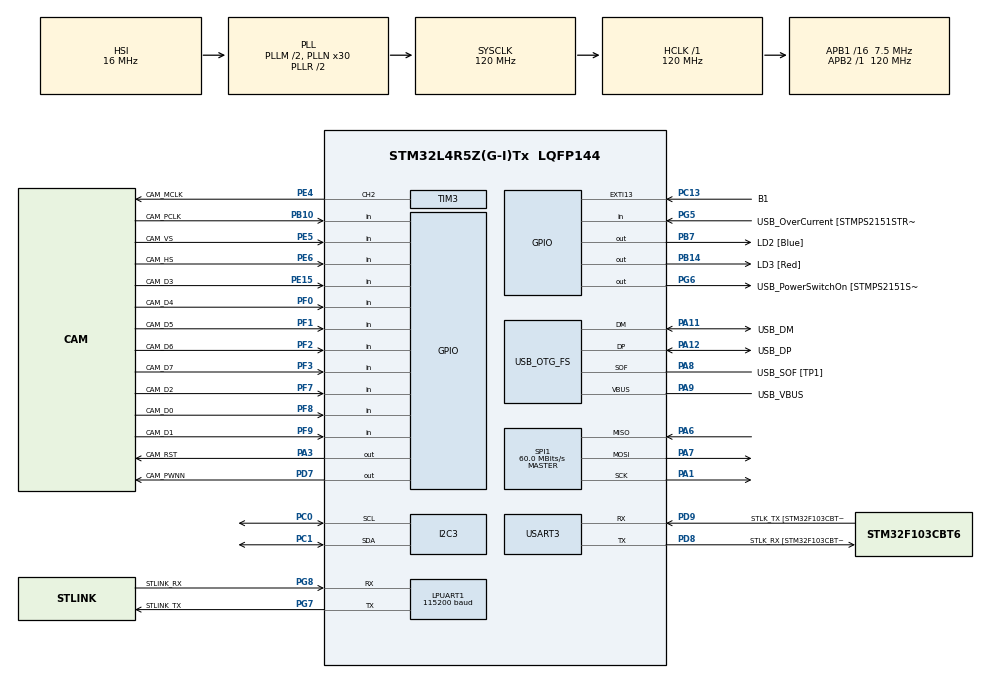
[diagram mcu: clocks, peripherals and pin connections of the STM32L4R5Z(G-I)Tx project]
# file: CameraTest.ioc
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I2C3.Timing=0x00101B29
LPUART1.BaudRate=115200
LPUART1.WordLength=UART_WORDLENGTH_8B
Mcu.Family=STM32L4
Mcu.Name=STM32L4R5Z(G-I)Tx
Mcu.Package=LQFP144
NVIC.PriorityGroup=NVIC_PRIORITYGROUP_4
PA1.Mode=Full_Duplex_Master
PA1.Signal=SPI1_SCK
PA10.GPIO_Label=USB_ID
PA10.Signal=USB_OTG_FS_ID
PA11.GPIO_Label=USB_DM
PA11.Mode=Device_Only
PA11.Signal=USB_OTG_FS_DM
PA12.GPIO_Label=USB_DP
PA12.Mode=Device_Only
PA12.Signal=USB_OTG_FS_DP
PA13\ (JTMS/SWDIO).GPIO_Label=TMS
PA13\ (JTMS/SWDIO).Mode=Trace_Asynchronous_SW
PA13\ (JTMS/SWDIO).Signal=SYS_JTMS-SWDIO
PA14\ (JTCK/SWCLK).GPIO_Label=TCK
PA14\ (JTCK/SWCLK).Mode=Trace_Asynchronous_SW
PA14\ (JTCK/SWCLK).Signal=SYS_JTCK-SWCLK
PA3.GPIO_Label=CAM_RST
PA3.Signal=GPIO_Output
PA6.Mode=Full_Duplex_Master
PA6.Signal=SPI1_MISO
PA7.Mode=Full_Duplex_Master
PA7.Signal=SPI1_MOSI
PA8.GPIO_Label=USB_SOF [TP1]
PA8.Mode=Activate_SOF_FS
PA8.Signal=USB_OTG_FS_SOF
PA9.GPIO_Label=USB_VBUS
PA9.Mode=Activate_VBUS
PA9.Signal=USB_OTG_FS_VBUS
PB10.GPIO_Label=CAM_PCLK
PB10.Signal=GPIO_Input
PB14.GPIO_Label=LD3 [Red]
PB14.Signal=GPIO_Output
PB3\ (JTDO/TRACESWO).GPIO_Label=SWO
PB3\ (JTDO/TRACESWO).Mode=Trace_Asynchronous_SW
PB3\ (JTDO/TRACESWO).Signal=SYS_JTDO-SWO
PB7.GPIO_Label=LD2 [Blue]
PB7.Signal=GPIO_Output
PC0.Mode=I2C
PC0.Signal=I2C3_SCL
PC1.Mode=I2C
PC1.Signal=I2C3_SDA
PC13.GPIO_Label=B1
PC13.Signal=GPXTI13
PC14-OSC32_IN\ (PC14).Mode=LSE-External-Oscillator
PC14-OSC32_IN\ (PC14).Signal=RCC_OSC32_IN
PC15-OSC32_OUT\ (PC15).Mode=LSE-External-Oscillator
PC15-OSC32_OUT\ (PC15).Signal=RCC_OSC32_OUT
PD7.GPIO_Label=CAM_PWNN
PD7.Signal=GPIO_Output
PD8.GPIO_Label=STLK_RX [STM32F103CBT6_PA3]
PD8.Mode=Asynchronous
PD8.Signal=USART3_TX
PD9.GPIO_Label=STLK_TX [STM32F103CBT6_PA2]
PD9.Mode=Asynchronous
PD9.Signal=USART3_RX
PE15.GPIO_Label=CAM_D3
PE15.Signal=GPIO_Input
PE4.GPIO_Label=CAM_MCLK
PE4.Signal=S_TIM3_CH2
PE5.GPIO_Label=CAM_VS
PE5.Signal=GPIO_Input
PE6.GPIO_Label=CAM_HS
PE6.Signal=GPIO_Input
PF0.GPIO_Label=CAM_D4
PF0.Signal=GPIO_Input
PF1.GPIO_Label=CAM_D5
PF1.Signal=GPIO_Input
PF2.GPIO_Label=CAM_D6
PF2.Signal=GPIO_Input
PF3.GPIO_Label=CAM_D7
PF3.Signal=GPIO_Input
PF7.GPIO_Label=CAM_D2
PF7.Signal=GPIO_Input
PF8.GPIO_Label=CAM_D0
PF8.Signal=GPIO_Input
PF9.GPIO_Label=CAM_D1
PF9.Signal=GPIO_Input
PG5.GPIO_Label=USB_OverCurrent [STMPS2151STR_FAULT]
PG5.Signal=GPIO_Input
PG6.GPIO_Label=USB_PowerSwitchOn [STMPS2151STR_EN]
PG6.Signal=GPIO_Output
PG7.GPIO_Label=STLINK_TX
PG7.Mode=Asynchronous
PG7.Signal=LPUART1_TX
PG8.GPIO_Label=STLINK_RX
PG8.Mode=Asynchronous
PG8.Signal=LPUART1_RX
PH0-OSC_IN\ (PH0).Signal=RCC_OSC_IN
PH1-OSC_OUT\ (PH1).Signal=RCC_OSC_OUT
ProjectManager.HeapSize=0x200
ProjectManager.StackSize=0x400
ProjectManager.TargetToolchain=STM32CubeIDE
RCC.48MHZClocksFreq_Value=24000000
RCC.ADCFreq_Value=96000000
RCC.AHBFreq_Value=120000000
RCC.APB1CLKDivider=RCC_HCLK_DIV16
RCC.APB1Freq_Value=7500000
RCC.APB1TimFreq_Value=15000000
RCC.APB2Freq_Value=120000000
RCC.APB2TimFreq_Value=120000000
RCC.CK48CLockSelection=RCC_USBCLKSOURCE_HSI48
RCC.CortexFreq_Value=120000000
RCC.HCLKFreq_Value=120000000
RCC.HSE_VALUE=8000000
RCC.HSI48_VALUE=48000000
RCC.HSI_VALUE=16000000
RCC.MSI_VALUE=4000000
RCC.PLLM1=2
RCC.PLLMUL=RCC_PLL_MUL9
RCC.PLLN=30
RCC.PLLSAI1N=12
RCC.PLLSourceVirtual=RCC_PLLSOURCE_HSI
RCC.PRESCALERUSB=RCC_USBCLKSOURCE_PLL_DIV1_5
RCC.SYSCLKFreq_VALUE=120000000
RCC.SYSCLKSource=RCC_SYSCLKSOURCE_PLLCLK
RCC.SYSCLKSourceVirtual=RCC_SYSCLKSOURCE_PLLCLK
RCC.USBFreq_Value=48000000
RCC.VCOOutputFreq_Value=240000000
SH.S_TIM3_CH2.0=TIM3_CH2,PWM Generation2 CH2
SPI1.CalculateBaudRate=60.0 MBits/s
SPI1.Direction=SPI_DIRECTION_2LINES
SPI1.Mode=SPI_MODE_MASTER
SPI1.VirtualType=VM_MASTER
TIM3.Channel-PWM\ Generation2\ CH2=TIM_CHANNEL_2
TIM3.Period=1
TIM3.Prescaler=199
TIM3.Pulse-PWM\ Generation2\ CH2=1
USART3.VirtualMode-Asynchronous=VM_ASYNC
USB_OTG_FS.VirtualMode=Device_Only
VP_TIM3_VS_ClockSourceINT.Mode=Internal
board=NUCLEO-L4R5ZI

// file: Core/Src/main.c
/* USER CODE BEGIN Header */
/**
  ******************************************************************************
  * @file           : main.c
  * @brief          : Main program body
  ******************************************************************************
  * @attention
  *
  * Copyright (c) 2023 STMicroelectronics.
  * All rights reserved.
  *
  * This software is licensed under terms that can be found in the LICENSE file
  * in the root directory of this software component.
  * If no LICENSE file comes with this software, it is provided AS-IS.
  *
  ******************************************************************************
  */
/* USER CODE END Header */
#include "main.h"

/* USER CODE BEGIN Includes */
#include "camera_ov7670.h"
/* USER CODE END Includes */

I2C_HandleTypeDef hi2c3;

UART_HandleTypeDef hlpuart1;
UART_HandleTypeDef huart3;

SPI_HandleTypeDef hspi1;

TIM_HandleTypeDef htim3;

PCD_HandleTypeDef hpcd_USB_OTG_FS;

void SystemClock_Config(void);
static void MX_GPIO_Init(void);
static void MX_LPUART1_UART_Init(void);
static void MX_USART3_UART_Init(void);
static void MX_USB_OTG_FS_PCD_Init(void);
static void MX_I2C3_Init(void);
static void MX_TIM3_Init(void);
static void MX_SPI1_Init(void);

int main(void)
{

  /* MCU Configuration--------------------------------------------------------*/

  /* Reset of all peripherals, Initializes the Flash interface and the Systick. */
  HAL_Init();

  /* Configure the system clock */
  SystemClock_Config();

  /* Initialize all configured peripherals */
  MX_GPIO_Init();
  MX_LPUART1_UART_Init();
  MX_USART3_UART_Init();
  MX_USB_OTG_FS_PCD_Init();
  MX_I2C3_Init();
  MX_TIM3_Init();
  MX_SPI1_Init();
  /* USER CODE BEGIN 2 */
  struct dataPin dataPins[8];
  dataPins[0].port = CAM_D0_GPIO_Port; dataPins[0].pin = CAM_D0_Pin;
  dataPins[1].port = CAM_D1_GPIO_Port; dataPins[1].pin = CAM_D1_Pin;
  dataPins[2].port = CAM_D2_GPIO_Port; dataPins[2].pin = CAM_D2_Pin;
  dataPins[3].port = CAM_D3_GPIO_Port; dataPins[3].pin = CAM_D3_Pin;
  dataPins[4].port = CAM_D4_GPIO_Port; dataPins[4].pin = CAM_D4_Pin;
  dataPins[5].port = CAM_D5_GPIO_Port; dataPins[5].pin = CAM_D5_Pin;
  dataPins[6].port = CAM_D6_GPIO_Port; dataPins[6].pin = CAM_D6_Pin;
  dataPins[7].port = CAM_D7_GPIO_Port; dataPins[7].pin = CAM_D7_Pin;

  CAMSetup(CAM_VS_GPIO_Port, CAM_VS_Pin,
		  CAM_HS_GPIO_Port, CAM_HS_Pin,
		  CAM_RST_GPIO_Port, CAM_RST_Pin,
		  CAM_PWNN_GPIO_Port, CAM_PWNN_Pin,
		  CAM_PCLK_GPIO_Port, CAM_PCLK_Pin,
		  dataPins);
  const int sizeOfBuffer = 640*480;
  uint8_t pixelData[sizeOfBuffer];
  HAL_TIM_PWM_Start(&htim3, TIM_CHANNEL_2);
  uint8_t buffer[] = "Hello there \n \r";
  /* USER CODE END 2 */

  /* Infinite loop */
  while (1)
  {

    /* USER CODE BEGIN 3 */
	  getFrame(pixelData, sizeOfBuffer);
	  // Send over uart
	  HAL_Delay(1000);
	  HAL_UART_Transmit(&hlpuart1, buffer, strlen(buffer), HAL_MAX_DELAY);
	  HAL_UART_Transmit(&hlpuart1, pixelData, sizeOfBuffer, HAL_MAX_DELAY);

	  // Save dithered image to file
	  // Transmit dithered image over RF
  }
  /* USER CODE END 3 */
}

void SystemClock_Config(void)
{
  RCC_OscInitTypeDef RCC_OscInitStruct = {0};
  RCC_ClkInitTypeDef RCC_ClkInitStruct = {0};

  /** Configure the main internal regulator output voltage
  */
  if (HAL_PWREx_ControlVoltageScaling(PWR_REGULATOR_VOLTAGE_SCALE1_BOOST) != HAL_OK)
  {
    Error_Handler();
  }

  /** Initializes the RCC Oscillators according to the specified parameters
  * in the RCC_OscInitTypeDef structure.
  */
  RCC_OscInitStruct.OscillatorType = RCC_OSCILLATORTYPE_HSI48|RCC_OSCILLATORTYPE_HSI;
  RCC_OscInitStruct.HSIState = RCC_HSI_ON;
  RCC_OscInitStruct.HSI48State = RCC_HSI48_ON;
  RCC_OscInitStruct.HSICalibrationValue = RCC_HSICALIBRATION_DEFAULT;
  RCC_OscInitStruct.PLL.PLLState = RCC_PLL_ON;
  RCC_OscInitStruct.PLL.PLLSource = RCC_PLLSOURCE_HSI;
  RCC_OscInitStruct.PLL.PLLM = 2;
  RCC_OscInitStruct.PLL.PLLN = 30;
  RCC_OscInitStruct.PLL.PLLP = RCC_PLLP_DIV2;
  RCC_OscInitStruct.PLL.PLLQ = RCC_PLLQ_DIV2;
  RCC_OscInitStruct.PLL.PLLR = RCC_PLLR_DIV2;
  if (HAL_RCC_OscConfig(&RCC_OscInitStruct) != HAL_OK)
  {
    Error_Handler();
  }

  /** Initializes the CPU, AHB and APB buses clocks
  */
  RCC_ClkInitStruct.ClockType = RCC_CLOCKTYPE_HCLK|RCC_CLOCKTYPE_SYSCLK
                              |RCC_CLOCKTYPE_PCLK1|RCC_CLOCKTYPE_PCLK2;
  RCC_ClkInitStruct.SYSCLKSource = RCC_SYSCLKSOURCE_PLLCLK;
  RCC_ClkInitStruct.AHBCLKDivider = RCC_SYSCLK_DIV1;
  RCC_ClkInitStruct.APB1CLKDivider = RCC_HCLK_DIV16;
  RCC_ClkInitStruct.APB2CLKDivider = RCC_HCLK_DIV1;

  if (HAL_RCC_ClockConfig(&RCC_ClkInitStruct, FLASH_LATENCY_5) != HAL_OK)
  {
    Error_Handler();
  }
}

static void MX_I2C3_Init(void)
{

  hi2c3.Instance = I2C3;
  hi2c3.Init.Timing = 0x00101B29;
  hi2c3.Init.OwnAddress1 = 0;
  hi2c3.Init.AddressingMode = I2C_ADDRESSINGMODE_7BIT;
  hi2c3.Init.DualAddressMode = I2C_DUALADDRESS_DISABLE;
  hi2c3.Init.OwnAddress2 = 0;
  hi2c3.Init.OwnAddress2Masks = I2C_OA2_NOMASK;
  hi2c3.Init.GeneralCallMode = I2C_GENERALCALL_DISABLE;
  hi2c3.Init.NoStretchMode = I2C_NOSTRETCH_DISABLE;
  if (HAL_I2C_Init(&hi2c3) != HAL_OK)
  {
    Error_Handler();
  }

  /** Configure Analogue filter
  */
  if (HAL_I2CEx_ConfigAnalogFilter(&hi2c3, I2C_ANALOGFILTER_ENABLE) != HAL_OK)
  {
    Error_Handler();
  }

  /** Configure Digital filter
  */
  if (HAL_I2CEx_ConfigDigitalFilter(&hi2c3, 0) != HAL_OK)
  {
    Error_Handler();
  }

}

static void MX_LPUART1_UART_Init(void)
{

  hlpuart1.Instance = LPUART1;
  hlpuart1.Init.BaudRate = 115200;
  hlpuart1.Init.WordLength = UART_WORDLENGTH_8B;
  hlpuart1.Init.StopBits = UART_STOPBITS_1;
  hlpuart1.Init.Parity = UART_PARITY_NONE;
  hlpuart1.Init.Mode = UART_MODE_TX_RX;
  hlpuart1.Init.HwFlowCtl = UART_HWCONTROL_NONE;
  hlpuart1.Init.OneBitSampling = UART_ONE_BIT_SAMPLE_DISABLE;
  hlpuart1.Init.ClockPrescaler = UART_PRESCALER_DIV1;
  hlpuart1.AdvancedInit.AdvFeatureInit = UART_ADVFEATURE_NO_INIT;
  hlpuart1.FifoMode = UART_FIFOMODE_DISABLE;
  if (HAL_UART_Init(&hlpuart1) != HAL_OK)
  {
    Error_Handler();
  }
  if (HAL_UARTEx_SetTxFifoThreshold(&hlpuart1, UART_TXFIFO_THRESHOLD_1_8) != HAL_OK)
  {
    Error_Handler();
  }
  if (HAL_UARTEx_SetRxFifoThreshold(&hlpuart1, UART_RXFIFO_THRESHOLD_1_8) != HAL_OK)
  {
    Error_Handler();
  }
  if (HAL_UARTEx_DisableFifoMode(&hlpuart1) != HAL_OK)
  {
    Error_Handler();
  }

}

static void MX_USART3_UART_Init(void)
{

  huart3.Instance = USART3;
  huart3.Init.BaudRate = 115200;
  huart3.Init.WordLength = UART_WORDLENGTH_8B;
  huart3.Init.StopBits = UART_STOPBITS_1;
  huart3.Init.Parity = UART_PARITY_NONE;
  huart3.Init.Mode = UART_MODE_TX_RX;
  huart3.Init.HwFlowCtl = UART_HWCONTROL_NONE;
  huart3.Init.OverSampling = UART_OVERSAMPLING_16;
  huart3.Init.OneBitSampling = UART_ONE_BIT_SAMPLE_DISABLE;
  huart3.Init.ClockPrescaler = UART_PRESCALER_DIV1;
  huart3.AdvancedInit.AdvFeatureInit = UART_ADVFEATURE_NO_INIT;
  if (HAL_UART_Init(&huart3) != HAL_OK)
  {
    Error_Handler();
  }
  if (HAL_UARTEx_SetTxFifoThreshold(&huart3, UART_TXFIFO_THRESHOLD_1_8) != HAL_OK)
  {
    Error_Handler();
  }
  if (HAL_UARTEx_SetRxFifoThreshold(&huart3, UART_RXFIFO_THRESHOLD_1_8) != HAL_OK)
  {
    Error_Handler();
  }
  if (HAL_UARTEx_DisableFifoMode(&huart3) != HAL_OK)
  {
    Error_Handler();
  }

}

static void MX_SPI1_Init(void)
{

  /* SPI1 parameter configuration*/
  hspi1.Instance = SPI1;
  hspi1.Init.Mode = SPI_MODE_MASTER;
  hspi1.Init.Direction = SPI_DIRECTION_2LINES;
  hspi1.Init.DataSize = SPI_DATASIZE_4BIT;
  hspi1.Init.CLKPolarity = SPI_POLARITY_LOW;
  hspi1.Init.CLKPhase = SPI_PHASE_1EDGE;
  hspi1.Init.NSS = SPI_NSS_SOFT;
  hspi1.Init.BaudRatePrescaler = SPI_BAUDRATEPRESCALER_2;
  hspi1.Init.FirstBit = SPI_FIRSTBIT_MSB;
  hspi1.Init.TIMode = SPI_TIMODE_DISABLE;
  hspi1.Init.CRCCalculation = SPI_CRCCALCULATION_DISABLE;
  hspi1.Init.CRCPolynomial = 7;
  hspi1.Init.CRCLength = SPI_CRC_LENGTH_DATASIZE;
  hspi1.Init.NSSPMode = SPI_NSS_PULSE_ENABLE;
  if (HAL_SPI_Init(&hspi1) != HAL_OK)
  {
    Error_Handler();
  }

}

static void MX_TIM3_Init(void)
{

  TIM_ClockConfigTypeDef sClockSourceConfig = {0};
  TIM_MasterConfigTypeDef sMasterConfig = {0};
  TIM_OC_InitTypeDef sConfigOC = {0};

  htim3.Instance = TIM3;
  htim3.Init.Prescaler = 199;
  htim3.Init.CounterMode = TIM_COUNTERMODE_UP;
  htim3.Init.Period = 1;
  htim3.Init.ClockDivision = TIM_CLOCKDIVISION_DIV1;
  htim3.Init.AutoReloadPreload = TIM_AUTORELOAD_PRELOAD_DISABLE;
  if (HAL_TIM_Base_Init(&htim3) != HAL_OK)
  {
    Error_Handler();
  }
  sClockSourceConfig.ClockSource = TIM_CLOCKSOURCE_INTERNAL;
  if (HAL_TIM_ConfigClockSource(&htim3, &sClockSourceConfig) != HAL_OK)
  {
    Error_Handler();
  }
  if (HAL_TIM_PWM_Init(&htim3) != HAL_OK)
  {
    Error_Handler();
  }
  sMasterConfig.MasterOutputTrigger = TIM_TRGO_RESET;
  sMasterConfig.MasterSlaveMode = TIM_MASTERSLAVEMODE_DISABLE;
  if (HAL_TIMEx_MasterConfigSynchronization(&htim3, &sMasterConfig) != HAL_OK)
  {
    Error_Handler();
  }
  sConfigOC.OCMode = TIM_OCMODE_PWM1;
  sConfigOC.Pulse = 1;
  sConfigOC.OCPolarity = TIM_OCPOLARITY_HIGH;
  sConfigOC.OCFastMode = TIM_OCFAST_DISABLE;
  if (HAL_TIM_PWM_ConfigChannel(&htim3, &sConfigOC, TIM_CHANNEL_2) != HAL_OK)
  {
    Error_Handler();
  }
  HAL_TIM_MspPostInit(&htim3);

}

static void MX_USB_OTG_FS_PCD_Init(void)
{

  hpcd_USB_OTG_FS.Instance = USB_OTG_FS;
  hpcd_USB_OTG_FS.Init.dev_endpoints = 6;
  hpcd_USB_OTG_FS.Init.phy_itface = PCD_PHY_EMBEDDED;
  hpcd_USB_OTG_FS.Init.Sof_enable = ENABLE;
  hpcd_USB_OTG_FS.Init.low_power_enable = DISABLE;
  hpcd_USB_OTG_FS.Init.lpm_enable = DISABLE;
  hpcd_USB_OTG_FS.Init.battery_charging_enable = ENABLE;
  hpcd_USB_OTG_FS.Init.use_dedicated_ep1 = DISABLE;
  hpcd_USB_OTG_FS.Init.vbus_sensing_enable = ENABLE;
  if (HAL_PCD_Init(&hpcd_USB_OTG_FS) != HAL_OK)
  {
    Error_Handler();
  }

}

static void MX_GPIO_Init(void)
{
  GPIO_InitTypeDef GPIO_InitStruct = {0};

  /* GPIO Ports Clock Enable */
  __HAL_RCC_GPIOE_CLK_ENABLE();
  __HAL_RCC_GPIOC_CLK_ENABLE();
  __HAL_RCC_GPIOF_CLK_ENABLE();
  __HAL_RCC_GPIOH_CLK_ENABLE();
  __HAL_RCC_GPIOA_CLK_ENABLE();
  __HAL_RCC_GPIOB_CLK_ENABLE();
  __HAL_RCC_GPIOD_CLK_ENABLE();
  __HAL_RCC_GPIOG_CLK_ENABLE();
  HAL_PWREx_EnableVddIO2();

  /*Configure GPIO pin Output Level */
  HAL_GPIO_WritePin(CAM_RST_GPIO_Port, CAM_RST_Pin, GPIO_PIN_RESET);

  /*Configure GPIO pin Output Level */
  HAL_GPIO_WritePin(GPIOB, LD3_Pin|LD2_Pin, GPIO_PIN_RESET);

  /*Configure GPIO pin Output Level */
  HAL_GPIO_WritePin(USB_PowerSwitchOn_GPIO_Port, USB_PowerSwitchOn_Pin, GPIO_PIN_RESET);

  /*Configure GPIO pin Output Level */
  HAL_GPIO_WritePin(CAM_PWNN_GPIO_Port, CAM_PWNN_Pin, GPIO_PIN_RESET);

  /*Configure GPIO pins : CAM_VS_Pin CAM_HS_Pin CAM_D3_Pin */
  GPIO_InitStruct.Pin = CAM_VS_Pin|CAM_HS_Pin|CAM_D3_Pin;
  GPIO_InitStruct.Mode = GPIO_MODE_INPUT;
  GPIO_InitStruct.Pull = GPIO_NOPULL;
  HAL_GPIO_Init(GPIOE, &GPIO_InitStruct);

  /*Configure GPIO pin : B1_Pin */
  GPIO_InitStruct.Pin = B1_Pin;
  GPIO_InitStruct.Mode = GPIO_MODE_IT_RISING;
  GPIO_InitStruct.Pull = GPIO_NOPULL;
  HAL_GPIO_Init(B1_GPIO_Port, &GPIO_InitStruct);

  /*Configure GPIO pins : CAM_D4_Pin CAM_D5_Pin CAM_D6_Pin CAM_D7_Pin
                           CAM_D2_Pin CAM_D0_Pin CAM_D1_Pin */
  GPIO_InitStruct.Pin = CAM_D4_Pin|CAM_D5_Pin|CAM_D6_Pin|CAM_D7_Pin
                          |CAM_D2_Pin|CAM_D0_Pin|CAM_D1_Pin;
  GPIO_InitStruct.Mode = GPIO_MODE_INPUT;
  GPIO_InitStruct.Pull = GPIO_NOPULL;
  HAL_GPIO_Init(GPIOF, &GPIO_InitStruct);

  /*Configure GPIO pin : CAM_RST_Pin */
  GPIO_InitStruct.Pin = CAM_RST_Pin;
  GPIO_InitStruct.Mode = GPIO_MODE_OUTPUT_PP;
  GPIO_InitStruct.Pull = GPIO_NOPULL;
  GPIO_InitStruct.Speed = GPIO_SPEED_FREQ_LOW;
  HAL_GPIO_Init(CAM_RST_GPIO_Port, &GPIO_InitStruct);

  /*Configure GPIO pin : CAM_PCLK_Pin */
  GPIO_InitStruct.Pin = CAM_PCLK_Pin;
  GPIO_InitStruct.Mode = GPIO_MODE_INPUT;
  GPIO_InitStruct.Pull = GPIO_NOPULL;
  HAL_GPIO_Init(CAM_PCLK_GPIO_Port, &GPIO_InitStruct);

  /*Configure GPIO pins : LD3_Pin LD2_Pin */
  GPIO_InitStruct.Pin = LD3_Pin|LD2_Pin;
  GPIO_InitStruct.Mode = GPIO_MODE_OUTPUT_PP;
  GPIO_InitStruct.Pull = GPIO_NOPULL;
  GPIO_InitStruct.Speed = GPIO_SPEED_FREQ_LOW;
  HAL_GPIO_Init(GPIOB, &GPIO_InitStruct);

  /*Configure GPIO pin : USB_OverCurrent_Pin */
  GPIO_InitStruct.Pin = USB_OverCurrent_Pin;
  GPIO_InitStruct.Mode = GPIO_MODE_INPUT;
  GPIO_InitStruct.Pull = GPIO_NOPULL;
  HAL_GPIO_Init(USB_OverCurrent_GPIO_Port, &GPIO_InitStruct);

  /*Configure GPIO pin : USB_PowerSwitchOn_Pin */
  GPIO_InitStruct.Pin = USB_PowerSwitchOn_Pin;
  GPIO_InitStruct.Mode = GPIO_MODE_OUTPUT_PP;
  GPIO_InitStruct.Pull = GPIO_NOPULL;
  GPIO_InitStruct.Speed = GPIO_SPEED_FREQ_LOW;
  HAL_GPIO_Init(USB_PowerSwitchOn_GPIO_Port, &GPIO_InitStruct);

  /*Configure GPIO pin : CAM_PWNN_Pin */
  GPIO_InitStruct.Pin = CAM_PWNN_Pin;
  GPIO_InitStruct.Mode = GPIO_MODE_OUTPUT_PP;
  GPIO_InitStruct.Pull = GPIO_NOPULL;
  GPIO_InitStruct.Speed = GPIO_SPEED_FREQ_LOW;
  HAL_GPIO_Init(CAM_PWNN_GPIO_Port, &GPIO_InitStruct);

}

void Error_Handler(void)
{
  __disable_irq();
  while (1)
  {
  }
}
